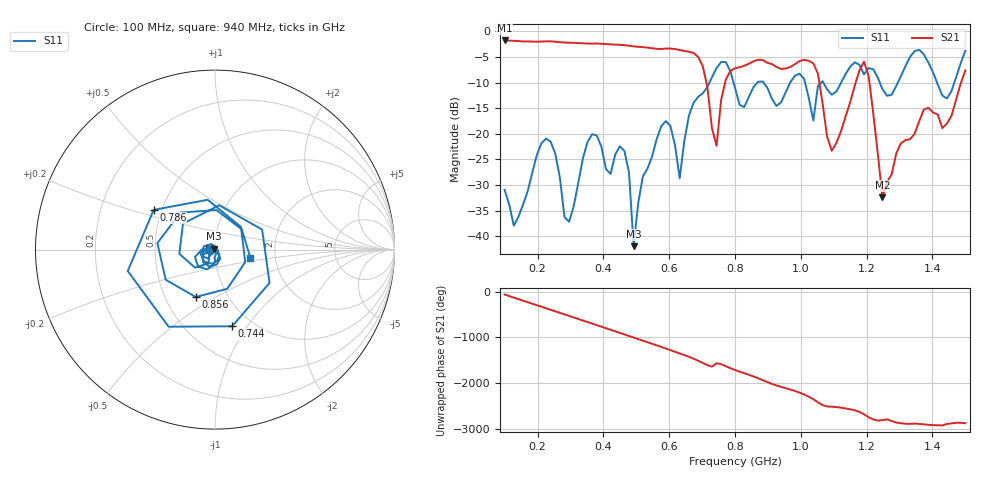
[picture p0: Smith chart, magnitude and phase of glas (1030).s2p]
! NanoVNA-App
! Date: 2025-09-25 16:03:29
! Start: 100MHz Stop: 1,5GHz Points: 101
! S-Parameter data: F S11 S21 S12 S22
# Hz S RI R 50
!  Frequency  S11_Real  S11_Imag  S21_Real  S21_Imag  S12_Real  S12_Imag  S22_Real  S22_Imag
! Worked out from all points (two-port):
!   101 points, 100 MHz to 1.5 GHz, reference 50 ohm
!   highest |S21| = -1.80 dB at 100 MHz (marker M1); lowest = -32.4 dB at 1.248 GHz (marker M2)
!   |S21| within 3 dB of the highest: start of sweep to 684.4 MHz
!   lowest |S11| = -41.9 dB at 492 MHz (marker M3), VSWR 1.02, Z = 49.5 + j0.606 ohm
!   |S11| at or under -10 dB: start of sweep to 722.5 MHz; 795.5 MHz to 867.9 MHz (72.43 MHz wide, 8.71 % of centre); 886.2 MHz to 967.8 MHz (81.56 MHz wide, 8.8 % of centre) (the widest 3 of 7)
!   S12 and S22 are empty: the file has one direction only
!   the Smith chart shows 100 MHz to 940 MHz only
!   S11 on the Smith chart (normalised r, x): 100 MHz: 0.94, -0.01; 744 MHz: 0.81, -0.85; 786 MHz: 0.45, +0.24; 856 MHz: 0.71, -0.41; 940 MHz: 1.48, -0.14
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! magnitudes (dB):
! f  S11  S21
! 100 MHz  -30.9  -1.8
! 128 MHz  -37.9  -1.9
! 226 MHz  -20.9  -2.0
! 296 MHz  -37.1  -2.2
! 338 MHz  -24.8  -2.3
! 464 MHz  -23.3  -2.7
! 492 MHz  -41.9  -3.0
! 576 MHz  -18.5  -3.5
! 632 MHz  -28.6  -3.7
! 702 MHz  -12.1  -6.8
! 744 MHz  -7.2  -22.3
! 786 MHz  -7.8  -7.7
! 800 MHz  -11.0  -7.2
! 856 MHz  -10.9  -5.9
! 940 MHz  -13.9  -7.4
! 996 MHz  -8.3  -5.8
! 1.038 GHz  -17.4  -6.3
! 1.094 GHz  -12.4  -23.3
! 1.192 GHz  -8.4  -5.9
! 1.248 GHz  -11.3  -32.4
! 1.276 GHz  -12.4  -27.9
! 1.5 GHz  -3.8  -7.6
